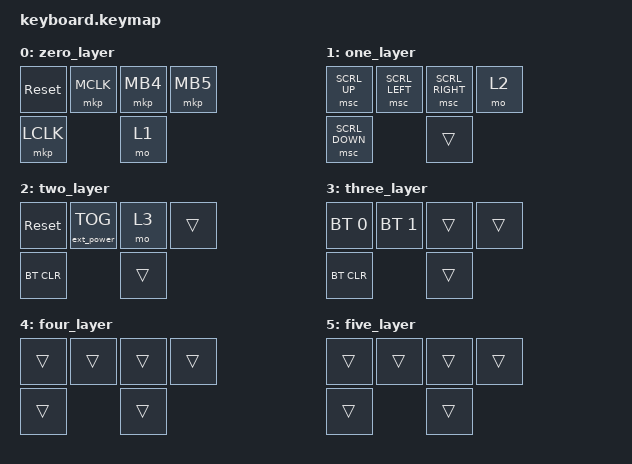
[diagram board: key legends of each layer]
#include <behaviors.dtsi>
#include <dt-bindings/zmk/bt.h>
#include <dt-bindings/zmk/keys.h>
#include <dt-bindings/zmk/mouse.h>
#include <dt-bindings/zmk/outputs.h>
#include <behaviors/mouse_keys.dtsi>
#include <dt-bindings/zmk/ext_power.h>

/ {
    keymap {
        compatible = "zmk,keymap";
        zero_layer {
            bindings = <
                &sys_reset &mkp MCLK &mkp MB4  &mkp MB5
                &mkp LCLK            &mo 1
            >;
        };
        one_layer {
            bindings = <
                &msc SCRL_UP  &msc SCRL_LEFT  &msc SCRL_RIGHT  &mo 2
                &msc SCRL_DOWN                                 &trans
            >;
        };
        two_layer {
            bindings = <
                &sys_reset &ext_power EP_TOG &mo 3  &trans
                &bt BT_CLR                          &trans
            >;
        };
        three_layer {
            bindings = <
                &bt BT_SEL 0 &bt BT_SEL 1 &trans &trans
                &bt BT_CLR                       &trans
            >;
        };
        four_layer {
            bindings = <
                &trans &trans &trans &trans
                &trans               &trans
            >;
        };
        five_layer {
            bindings = <
                &trans &trans &trans &trans
                &trans               &trans
            >;
        };
    };
};
